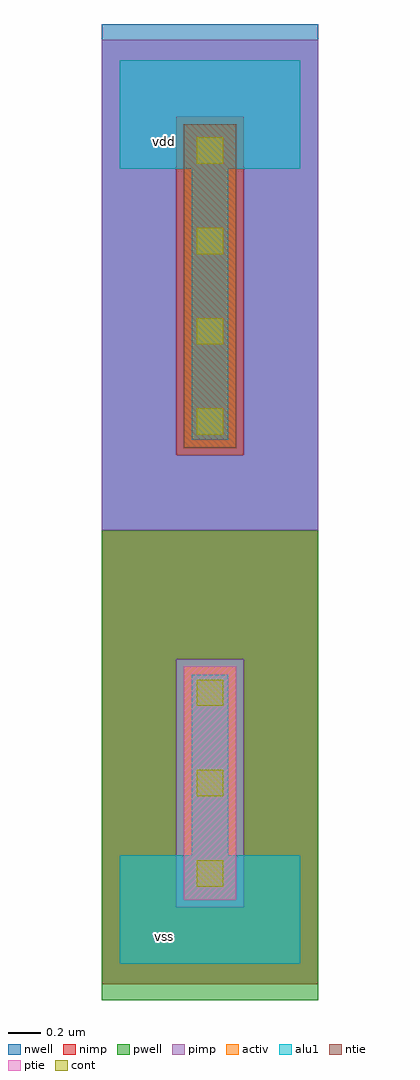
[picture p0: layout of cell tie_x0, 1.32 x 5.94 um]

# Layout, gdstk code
import gdstk
lib = gdstk.Library(unit=1e-6, precision=2.5e-09)
def R(c, l, rs):  # rectangles x0, y0, x1, y1
    for r in rs: c.add(gdstk.rectangle(r[:2], r[2:], *l))
def A(c, l, x, y, w, h, nx, ny, dx, dy):  # array of equal rectangles
    R(c, l, [(x+i*dx, y+j*dy, x+i*dx+w, y+j*dy+h) for i in range(nx) for j in range(ny)])
ntie = (5, 0)
ptie = (6, 0)
cont = (25, 0)
pwell = (41, 0)
nwell = (42, 0)
activ = (43, 0)
pimp = (44, 0)
nimp = (45, 0)
alu1 = (49, 0)

tie_x0 = lib.new_cell('tie_x0')
R(tie_x0, ntie, [(0.39,3.14,0.71,5.11), (0.39,3.14,0.71,5.11)])
R(tie_x0, ptie, [(0.39,0.39,0.71,1.81), (0.39,0.39,0.71,1.81)])
A(tie_x0, cont, 0.47, 0.47, 0.16, 0.16, 1, 3, 0, 0.55)
A(tie_x0, cont, 0.47, 3.22, 0.16, 0.16, 1, 4, 0, 0.55)
R(tie_x0, pwell, [(-0.11,-0.22,1.21,2.64)])
R(tie_x0, nwell, [(-0.11,2.64,1.21,5.72)])
R(tie_x0, activ, [(0.39,0.39,0.71,1.81), (0.39,0.39,0.71,1.81), (0.39,3.14,0.71,5.11), (0.39,3.14,0.71,5.11)])
R(tie_x0, pimp, [(0.345,0.345,0.755,1.855), (-0.11,2.64,1.21,3.095), (-0.11,3.095,0.345,5.155), (0.755,3.095,1.21,5.155), (-0.11,5.155,1.21,5.625)])
R(tie_x0, nimp, [(-0.11,-0.125,1.21,0.345), (-0.11,0.345,0.345,1.855), (0.755,0.345,1.21,1.855), (-0.11,1.855,1.21,2.64), (0.345,3.095,0.755,5.155)])
R(tie_x0, alu1, [(0,0,1.1,0.66), (0.44,0.66,0.66,1.76), (0.44,3.19,0.66,4.84), (0,4.84,1.1,5.5)])
tie_x0.add(gdstk.Label('vss', (0.275,0.165), layer=49, texttype=0))
tie_x0.add(gdstk.Label('vdd', (0.275,5.005), layer=49, texttype=0))

lib.write_gds('tie_x0.gds')
